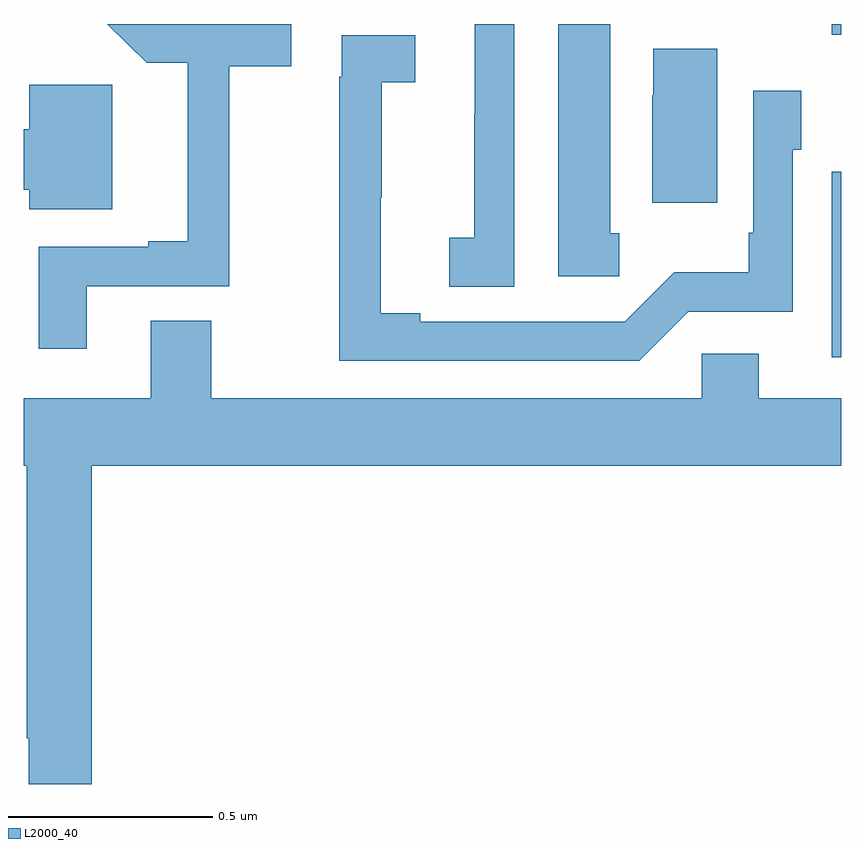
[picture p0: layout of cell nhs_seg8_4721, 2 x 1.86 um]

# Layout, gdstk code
import gdstk
lib = gdstk.Library(unit=1e-6, precision=1e-09)
def R(c, l, rs):  # rectangles x0, y0, x1, y1
    for r in rs: c.add(gdstk.rectangle(r[:2], r[2:], *l))
def P(c, l, *ps):  # polygons
    for p in ps: c.add(gdstk.Polygon(p, *l))
L2000_40 = (2000, 40)

nhs_seg8_4721 = lib.new_cell('nhs_seg8_4721')
R(nhs_seg8_4721, L2000_40, [(175.976,1130.085,176,1130.538), (175.976,1130.874,176,1130.9)])
P(nhs_seg8_4721, L2000_40, [(174.154,1130.259),(174.503,1130.259),(174.503,1130.797),(174.654,1130.797),(174.654,1130.9),(174.205,1130.9),(174.301,1130.805),(174.401,1130.805),(174.401,1130.368),(174.305,1130.368),(174.305,1130.355),(174.037,1130.355),(174.037,1130.106),(174.154,1130.106)],
  [(175.2,1130.9),(175.103,1130.9),(175.103,1130.681),(175.102,1130.681),(175.102,1130.377),(175.041,1130.377),(175.041,1130.257),(175.2,1130.257)],
  [(175.457,1130.388),(175.435,1130.388),(175.435,1130.9),(175.307,1130.9),(175.307,1130.283),(175.457,1130.283)],
  [(175.626,1130.196),(175.881,1130.196),(175.881,1130.592),(175.902,1130.592),(175.902,1130.737),(175.785,1130.737),(175.785,1130.389),(175.773,1130.389),(175.773,1130.293),(175.591,1130.293),(175.47,1130.172),(174.97,1130.172),(174.97,1130.192),(174.874,1130.192),(174.874,1130.475),(174.876,1130.475),(174.876,1130.758),(174.958,1130.758),(174.958,1130.873),(174.778,1130.873),(174.778,1130.771),(174.772,1130.771),(174.772,1130.076),(175.506,1130.076)],
  [(175.696,1130.839),(175.54,1130.839),(175.54,1130.726),(175.538,1130.726),(175.538,1130.463),(175.696,1130.463)],
  [(174.217,1130.752),(174.014,1130.752),(174.014,1130.642),(174,1130.642),(174,1130.495),(174.014,1130.495),(174.014,1130.447),(174.217,1130.447)],
  [(176,1129.984),(175.798,1129.984),(175.798,1130.094),(175.659,1130.094),(175.659,1129.984),(174.459,1129.984),(174.459,1130.174),(174.311,1130.174),(174.311,1129.984),(174,1129.984),(174,1129.82),(174.007,1129.82),(174.007,1129.153),(174.013,1129.153),(174.013,1129.041),(174.167,1129.041),(174.167,1129.82),(176,1129.82)])

lib.write_gds('nhs_seg8_4721.gds')
